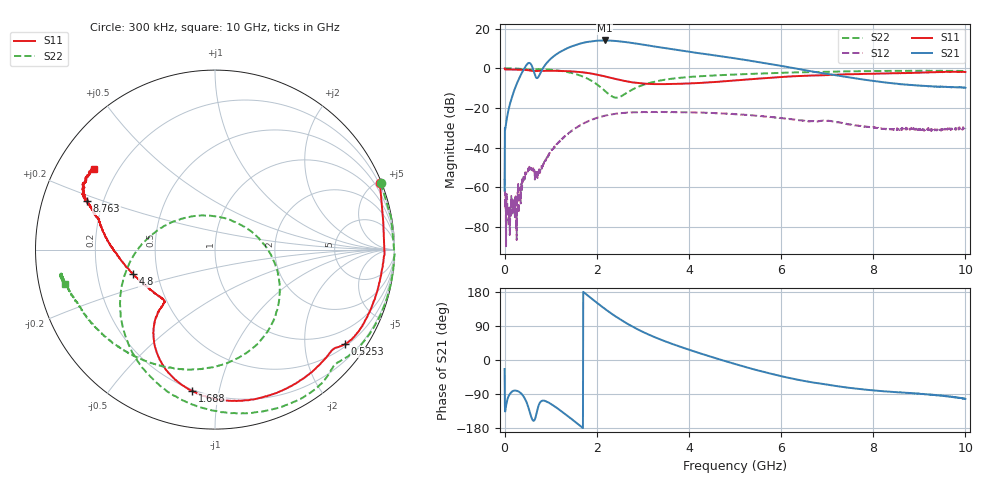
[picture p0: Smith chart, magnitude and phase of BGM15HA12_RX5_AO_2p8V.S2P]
!Agilent Technologies,E5071C,MY46317100,A.11.08
!Date: Fri Dec 12 16:55:27 2014
!Data & Calibration Information:
!Freq	S11:SOLT2(ON)	S21:SOLT2(ON)	S12:SOLT2(ON)	S22:SOLT2(ON)
!PortZ  Port1:50+j0  Port2:50+j0
!Above PortZ is port z conversion or system Z0 setting when saving the data.
!When reading, reference impedance value at option line is always used.
# Hz S RI R 50
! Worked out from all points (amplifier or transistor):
!   1601 points, 300 kHz to 10 GHz, reference 50 ohm
!   highest |S21| = 14.1 dB at 2.169 GHz (marker M1)
!   |S21| within 3 dB of that: 1.454 GHz to 3.237 GHz (1.782 GHz wide, 76 % of centre)
!   unconditionally stable (mu >= 1): start of sweep to 13.89 MHz; 25.47 MHz to 39.81 MHz; 46.4 MHz to end of sweep
!   at 1.663 GHz: K = 1.20, MAG = 17.9 dB, |S12| = -28.5 dB
!   at 5 GHz: K = 1.74, MAG = 9.1 dB, |S12| = -23.2 dB
!   at 10 GHz: K = 5.26, MAG = 0.2 dB, |S12| = -30.6 dB
!   lowest NFmin = 1.00 dB at 1.45 GHz
!   S11 on the Smith chart (normalised r, x): 300 kHz: 0.11, +5.11; 525.3 MHz: 0.56, -2.98; 1.688 GHz: 0.19, -0.83; 4.8 GHz: 0.36, -0.13; 8.763 GHz: 0.14, +0.18; 10 GHz: 0.11, +0.30
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300000  0.9186 0.3735  0.000744 -0.000327  -0.000871 -0.00139  0.9235 0.3701
5.654831e7  0.9381 -0.0664  -0.0166 -0.0587  0.000306 0.000354  0.9958 -0.083
1.127966e8  0.9273 -0.1274  4.53e-05 -0.1214  -5.98e-05 -1.52e-05  0.9836 -0.1624
3.752888e8  0.8362 -0.3941  -0.00569 -0.7743  -0.000838 -4.01e-06  0.8345 -0.5053
5.252842e8  0.7242 -0.5269  -0.8651 -1.074  -0.00303 0.00108  0.6876 -0.627
6.627801e8  0.6407 -0.5742  -0.5985 -0.2822  -0.00196 0.00123  0.5998 -0.7387
9.315221e8  0.4856 -0.7221  -0.5142 -1.35  -0.00574 -0.000425  0.2516 -0.9026
1.312761e9  0.1812 -0.8389  -2.418 -1.857  -0.0189 0.00557  -0.2672 -0.7896
1.669e9  -0.1141 -0.7948  -4.323 -0.2642  -0.0277 0.0269  -0.5256 -0.3725
1.687749e9  -0.1283 -0.7876  -4.383 -0.1237  -0.0275 0.028  -0.5273 -0.3461
1.925242e9  -0.2684 -0.6747  -4.578 1.791  -0.0224 0.0466  -0.4554 -0.0359
2.168985e9  -0.3352 -0.5355  -3.643 3.556  -0.00687 0.0633  -0.2261 0.1581
2.612722e9  -0.3201 -0.359  -0.7546 4.597  0.0302 0.0694  0.2041 0.0998
2.962711e9  -0.2883 -0.3039  0.954 3.946  0.0528 0.0585  0.3475 -0.1185
3.3377e9  -0.2858 -0.2809  1.92 2.869  0.0675 0.0419  0.3461 -0.3371
3.956431e9  -0.3381 -0.2406  2.347 1.305  0.0764 0.0133  0.1782 -0.5738
4.800156e9  -0.455 -0.1375  1.942 -0.1112  0.07 -0.0182  -0.1504 -0.6694
5.00015e9  -0.4839 -0.1053  1.765 -0.3263  0.0653 -0.0231  -0.2304 -0.6614
6.66885e9  -0.6436 0.154  0.435 -0.7182  0.0313 -0.0344  -0.7222 -0.3646
8.33755e9  -0.7025 0.2513  0.05 -0.4278  0.0157 -0.0245  -0.8539 -0.145
8.762537e9  -0.7135 0.2702  0.0193 -0.3848  0.0175 -0.0232  -0.8528 -0.1381
1e10  -0.6733 0.4507  -0.0706 -0.3158  0.0146 -0.0257  -0.8378 -0.1895
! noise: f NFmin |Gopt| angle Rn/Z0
1.45e+09  1.004  0.3617  75.86  0.1972
1.5e+09  1.009  0.3659  76.38  0.1929
1.7e+09  1.032  0.3613  83.25  0.1872
1.85e+09  1.057  0.3528  92.97  0.1781
1.9e+09  1.058  0.3927  94.67  0.1786
2.1e+09  1.105  0.3813  97.34  0.1664
2.3e+09  1.138  0.3997  101.3  0.16
2.4e+09  1.158  0.3964  104  0.1595
2.6e+09  1.191  0.4217  109.2  0.1534
2.75e+09  1.246  0.412  115.8  0.142
